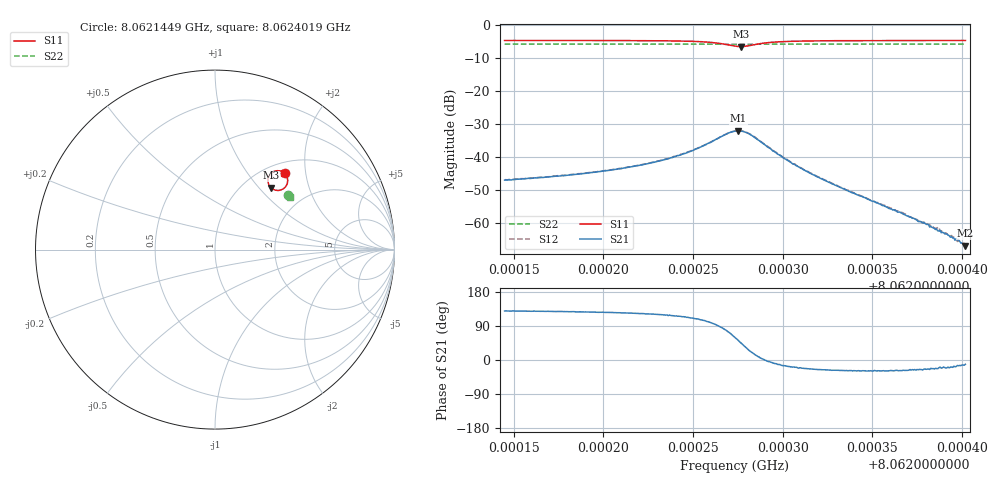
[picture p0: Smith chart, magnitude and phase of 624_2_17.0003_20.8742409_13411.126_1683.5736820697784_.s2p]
#  HZ  S  RI  R  50.00
! Rohde & Schwarz Vector Network Analyzer
! Rohde-Schwarz,ZNB20-2Port,1311601062101988,3.16
! Created: UTC 3/20/2024, 11:20:03 PM
! freq[Hz]  re:S11  im:S11  re:S21  im:S21  re:S12  im:S12  re:S22  im:S22
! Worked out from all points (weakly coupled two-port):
!   401 points, 8.0621449 GHz to 8.0624019 GHz, reference 50 ohm
!   highest |S21| = -32.16 dB at 8.0622753 GHz (marker M1); lowest = -67.0 dB at 8.0624019 GHz (marker M2)
!   lowest |S11| = -6.7 dB at 8.0622766 GHz (marker M3), VSWR 2.74, Z = 66.2 + j58.2 ohm
!   |S11| at or under -10 dB: nowhere
!   |S22| runs from -6.0 to -5.9 dB; largest |S21 - S12| = 0.0014
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8.06214492e9  0.3877 0.4259  -0.0028 0.00342  -0.00262 0.0036  0.4074 0.3035
8.06218796e9  0.3931 0.4195  -0.00332 0.00443  -0.00306 0.00465  0.4089 0.3011
8.06221109e9  0.397 0.4136  -0.00378 0.00554  -0.00348 0.00578  0.4096 0.2998
8.06223101e9  0.4016 0.4044  -0.0043 0.00744  -0.00388 0.00774  0.4104 0.2983
8.06224707e9  0.4051 0.3886  -0.00447 0.0107  -0.00386 0.0112  0.4108 0.2968
8.06226056e9  0.3989 0.359  -0.00214 0.0167  -0.00125 0.0171  0.4107 0.295
8.06226955e9  0.3649 0.3316  0.00612 0.0218  0.00725 0.0215  0.4092 0.2939
8.06227341e9  0.3359 0.3314  0.0124 0.0209  0.0135 0.0205  0.408 0.2939
8.06227533e9  0.3209 0.3378  0.0155 0.0192  0.0165 0.0186  0.4076 0.2944
8.06227662e9  0.312 0.3447  0.0171 0.0175  0.0183 0.0166  0.4072 0.2947
8.06228176e9  0.2949 0.3824  0.02 0.00872  0.0206 0.00774  0.4071 0.2963
8.06229139e9  0.3162 0.428  0.0141 -0.000733  0.0144 -0.0014  0.4091 0.2976
8.06230488e9  0.3456 0.4395  0.00767 -0.00251  0.0076 -0.00301  0.411 0.2973
8.06231645e9  0.3586 0.4389  0.00496 -0.00221  0.0049 -0.00252  0.4119 0.2964
8.06233444e9  0.3698 0.4361  0.00282 -0.00151  0.00281 -0.00169  0.4129 0.2952
8.06235949e9  0.3777 0.4325  0.00143 -0.000778  0.00145 -0.000882  0.414 0.2938
8.06238005e9  0.3818 0.43  0.000857 -0.000393  0.000877 -0.000459  0.4149 0.2927
8.0623839e9  0.3824 0.4298  0.000775 -0.000323  0.00077 -0.000387  0.4149 0.2924
8.06238712e9  0.3829 0.4294  0.000702 -0.000262  0.000768 -0.000369  0.4151 0.2922
8.06239547e9  0.384 0.4286  0.000563 -0.000166  0.000581 -0.00018  0.4154 0.2917
8.06239804e9  0.3844 0.4282  0.00054 -0.000147  0.000499 -0.000181  0.4155 0.2917
8.06240189e9  0.3849 0.428  0.00044 -8.74e-05  0.000424 -0.000123  0.4156 0.2914
